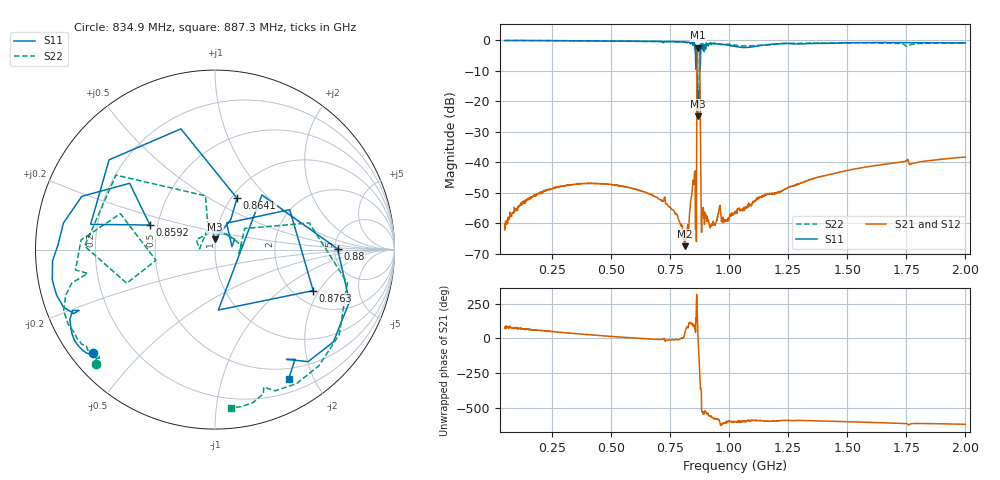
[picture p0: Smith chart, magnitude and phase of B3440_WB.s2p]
! Matrix data file written by TouchstoneData, EPCOS AG
! FILENAME: "B3440_WB.s2p"
! COMMENT: "AA73B2.WB.2.s2p"
! INFO: nport=2, nfreq=1601
! DATE: "Tue Aug 27 11:24:42 2013"
! USER: "Daniel Harbusch"
! port | pin | signal
!  1  |  5  |  Output
!  2  |  2  |  Input
# MHZ S MA R 50
! freq  magS11 angS11  magS21 angS21  magS12 angS12  magS22 angS22
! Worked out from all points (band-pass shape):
!   1601 points, 50 MHz to 2 GHz, reference 50 ohm
!   highest |S21| = -2.43 dB at 869 MHz (marker M1); lowest = -67.5 dB at 811.7 MHz (marker M2)
!   |S21| within 3 dB of the highest: 865.1 MHz to 874.6 MHz (9.506 MHz wide, 1.09 % of centre)
!   lowest |S11| = -24.9 dB at 866.6 MHz (marker M3), VSWR 1.12, Z = 49.7 + j5.65 ohm
!   |S11| at or under -10 dB: 864.1 MHz to 874.6 MHz (10.54 MHz wide, 1.21 % of centre)
!   |S22| runs from -21.3 to 0.0 dB; largest |S21 - S12| = 0
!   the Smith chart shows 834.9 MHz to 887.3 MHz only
!   S11 on the Smith chart (normalised r, x): 834.9 MHz: 0.07, -0.37; 859.2 MHz: 0.45, +0.15; 864.1 MHz: 1.06, +0.67; 876.3 MHz: 2.52, -1.77; 880 MHz: 5.31, +0.08; 887.3 MHz: 0.36, -1.66
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50  0.9947 -8.4  0.000771 73.7  0.000771 73.7  0.9936 -8.5
152.375  0.9943 -25.1  0.002595 66.1  0.002595 66.1  0.9929 -25.4
375.4062  0.9827 -59.3  0.004455 31.5  0.004455 31.5  0.9839 -59.5
700.8125  0.9622 -103.4  0.002564 -7.9  0.002564 -7.9  0.9607 -103.7
772.7188  0.9548 -115.3  0.001413 -9.0  0.001413 -9.0  0.9477 -114.5
811.7188  0.9379 -126.0  0.0004197 33.4  0.0004197 33.4  0.9411 -124.1
834.875  0.8886 -139.7  0.001828 115.4  0.001828 115.4  0.9163 -136.1
851.9375  0.9221 -169.4  0.005186 97.9  0.005186 97.9  0.8709 -162.9
859.25  0.3876 159.3  0.007262 149.5  0.007262 149.5  0.3345 -169.7
864.125  0.3114 66.8  0.333 -118.1  0.333 -118.1  0.3043 100.1
866.5625  0.0567 90.0  0.7035 89.1  0.7035 89.1  0.08601 177.2
869  0.1033 72.0  0.7558 -2.3  0.7558 -2.3  0.09847 109.9
872.6562  0.09614 10.1  0.7172 -122.2  0.7172 -122.2  0.1347 -9.7
876.3125  0.5927 -22.7  0.2533 85.0  0.2533 85.0  0.7608 -14.1
879.9688  0.683 0.3  0.01392 0.3  0.01392 0.3  0.8742 -58.7
887.2812  0.8283 -60.3  0.001493 -172.0  0.001493 -172.0  0.8871 -84.1
892.1562  0.7855 -67.7  0.001387 -168.9  0.001387 -168.9  0.8567 -94.4
921.4062  0.8758 -98.3  0.0008559 159.8  0.0008559 159.8  0.9061 -106.3
1025  0.7962 -119.2  0.001563 120.6  0.001563 120.6  0.837 -122.9
1350.406  0.8893 -134.6  0.005332 126.3  0.005332 126.3  0.9032 -140.1
1675.812  0.921 -151.4  0.009452 110.7  0.009452 110.7  0.9016 -158.9
2000  0.9112 -164.9  0.01216 100.9  0.01216 100.9  0.9051 -169.4
